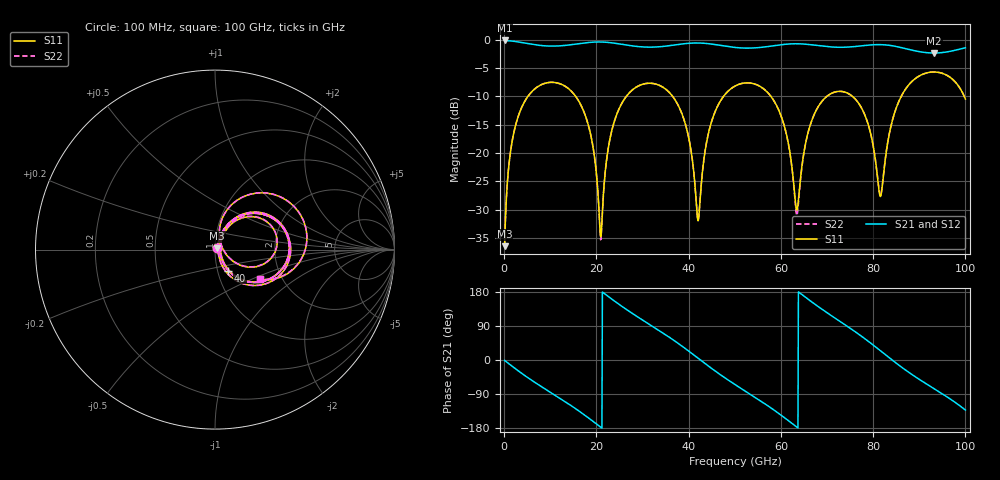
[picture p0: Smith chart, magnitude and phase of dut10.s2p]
! Touchstone file exported from HFSS 2026.1.0
!  File:  C:/ffzhzh/LocalFiles/Ansys_Project_Files/temp_train_TSV_RDL_10_1783437163_41684.aedt
!  Generated:  11:23:15 PM Jul  7, 2026
!  Design:  TSV_RDL
!  Project:  temp_train_TSV_RDL_10_1783437163_41684
! Variables:
!  h_bsmrdl = 3.31um
!  h_ox = 20um
!  h_rdl = 5um
!  h_sub = 65.6um
!  h_tmrdl = 4.7um
!  h_tsv = 65.6um
!  h_via = 3um
!  l_bsmrdl = 174.93um
!  l_sub = 2871.7um
!  l_tmrdl = 461.31um
!  m_sub = 200um
!  pitch = 40.11um
!  r_tsv = 9.42um
!  s_tmrdl = 10um
!  w_bsmrdl = 11.89um
!  w_sub = 500um
!  w_tmrdl = 22um
!  x_tsv_center1 = 472.31um
!  x_tsv_center2 = 659.13um
!  x_tsv_center3 = 1142.44um
!  x_tsv_center4 = 1329.26um
!  x_tsv_center5 = 1812.57um
!  x_tsv_center6 = 1999.39um
# GHz S MA R 50.000000
! Terminal data exported
! Port[1] = TM_RDL1_1_T1
! Port[2] = TM_RDL5_1_T1
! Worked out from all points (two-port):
!   1000 points, 100 MHz to 100 GHz, reference 50 ohm
!   highest |S21| = -0.11 dB at 100 MHz (marker M1); lowest = -2.3 dB at 93.2 GHz (marker M2)
!   |S21| within 3 dB of the highest: start of sweep to end of sweep
!   lowest |S11| = -36.4 dB at 100 MHz (marker M3), VSWR 1.03, Z = 51.3 + j0.83 ohm
!   |S11| at or under -10 dB: 15.52 GHz to 26.47 GHz (10.95 GHz wide, 52.2 % of centre); 36.54 GHz to 47.55 GHz (11.01 GHz wide, 26.2 % of centre); 57.85 GHz to 69.94 GHz (12.09 GHz wide, 18.9 % of centre) (the widest 3 of 6)
!   |S22| runs from -36.4 to -5.7 dB; largest |S21 - S12| = 4.4e-14
!   S11 on the Smith chart (normalised r, x): 100 MHz: 1.03, +0.02; 40 GHz: 1.12, -0.27; 100 GHz: 1.54, -0.56
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0.1  0.01507 32.5  0.9874 -1.0  0.9874 -1.0  0.01507 32.5
! Gamma 0 0 0 0
! Port Impedance 50 0 50 0
1.7  0.1249 66.0  0.9751 -16.2  0.9751 -16.2  0.1249 65.9
4.8  0.3015 42.1  0.9306 -43.8  0.9306 -43.8  0.3015 42.0
11  0.4198 -4.8  0.8809 -92.7  0.8809 -92.7  0.4198 -4.8
16.8  0.2574 -48.7  0.9323 -139.7  0.9323 -139.7  0.2574 -48.9
19.2  0.1177 -64.9  0.9538 -161.2  0.9538 -161.2  0.1175 -65.4
20.9  0.01823 -7.2  0.9571 -176.9  0.9571 -176.9  0.01714 -7.6
24.7  0.2351 53.1  0.9243 148.7  0.9243 148.7  0.235 53.4
33.4  0.4003 -11.3  0.867 79.4  0.867 79.4  0.4004 -11.1
40  0.1374 -58.0  0.9319 23.6  0.9319 23.6  0.1376 -57.7
42.1  0.02531 10.9  0.9378 4.2  0.9378 4.2  0.02599 10.5
44.9  0.1857 60.1  0.9183 -21.5  0.9183 -21.5  0.1857 59.9
50.1  0.3917 22.4  0.8561 -65.1  0.8561 -65.1  0.3917 22.3
59  0.2661 -42.1  0.8939 -136.4  0.8939 -136.4  0.2658 -42.6
63.4  0.03143 -3.7  0.9233 -176.5  0.9233 -176.5  0.02829 -4.1
66.7  0.1944 54.6  0.9035 153.2  0.9035 153.2  0.1941 55.6
75.6  0.3148 -9.1  0.8692 78.9  0.8692 78.9  0.3149 -8.6
79  0.1749 -31.1  0.8978 48.9  0.8978 48.9  0.1751 -30.4
81.5  0.04165 15.5  0.9071 25.2  0.9071 25.2  0.04287 16.0
83.4  0.1406 78.2  0.8956 6.9  0.8956 6.9  0.141 78.0
93.2  0.5199 13.6  0.7649 -75.6  0.7649 -75.6  0.52 13.8
100  0.2998 -33.7  0.8509 -132.0  0.8509 -132.0  0.3003 -32.9
